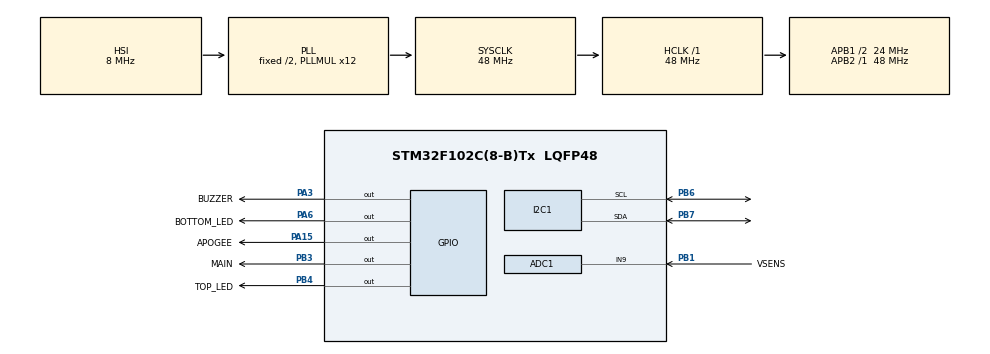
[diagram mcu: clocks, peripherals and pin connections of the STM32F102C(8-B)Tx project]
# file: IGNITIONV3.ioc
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ADC1.Channel-0\#ChannelRegularConversion=ADC_CHANNEL_9
ADC1.NbrOfConversionFlag=1
ADC1.Rank-0\#ChannelRegularConversion=1
ADC1.SamplingTime-0\#ChannelRegularConversion=ADC_SAMPLETIME_1CYCLE_5
ADC1.master=1
Mcu.Family=STM32F1
Mcu.Name=STM32F102C(8-B)Tx
Mcu.Package=LQFP48
NVIC.PriorityGroup=NVIC_PRIORITYGROUP_4
NVIC.TIM2_IRQn=true\:0\:0\:false\:false\:true\:true\:true
NVIC.TIM3_IRQn=true\:0\:0\:false\:false\:true\:true\:true
PA13.Mode=Serial_Wire
PA13.Signal=SYS_JTMS-SWDIO
PA14.Mode=Serial_Wire
PA14.Signal=SYS_JTCK-SWCLK
PA15.GPIO_Label=APOGEE
PA15.Signal=GPIO_Output
PA3.GPIO_Label=BUZZER
PA3.Signal=GPIO_Output
PA6.GPIO_Label=BOTTOM_LED
PA6.Signal=GPIO_Output
PB1.GPIO_Label=VSENS
PB1.Signal=ADCx_IN9
PB3.GPIO_Label=MAIN
PB3.Signal=GPIO_Output
PB4.GPIO_Label=TOP_LED
PB4.Signal=GPIO_Output
PB6.Mode=I2C
PB6.Signal=I2C1_SCL
PB7.Mode=I2C
PB7.Signal=I2C1_SDA
PD0-OSC_IN.Mode=HSE-External-Oscillator
PD0-OSC_IN.Signal=RCC_OSC_IN
PD1-OSC_OUT.Mode=HSE-External-Oscillator
PD1-OSC_OUT.Signal=RCC_OSC_OUT
ProjectManager.HeapSize=0x200
ProjectManager.StackSize=0x400
ProjectManager.TargetToolchain=STM32CubeIDE
RCC.ADCPresc=RCC_ADCPCLK2_DIV4
RCC.AHBFreq_Value=48000000
RCC.APB1CLKDivider=RCC_HCLK_DIV2
RCC.APB1Freq_Value=24000000
RCC.APB1TimFreq_Value=48000000
RCC.APB2Freq_Value=48000000
RCC.HCLKFreq_Value=48000000
RCC.PLLMUL=RCC_PLL_MUL12
RCC.SYSCLKFreq_VALUE=48000000
RCC.SYSCLKSource=RCC_SYSCLKSOURCE_PLLCLK
RCC.USBFreq_Value=48000000
SH.ADCx_IN9.0=ADC1_IN9,IN9
TIM2.Period=4
TIM2.Prescaler=47999
TIM3.Period=108
TIM3.Prescaler=47999
TIM4.Prescaler=47999
VP_TIM2_VS_ClockSourceINT.Mode=Internal
VP_TIM3_VS_ClockSourceINT.Mode=Internal
VP_TIM4_VS_ClockSourceINT.Mode=Internal
board=custom

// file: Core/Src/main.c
/* USER CODE BEGIN Header */
/**
  ******************************************************************************
  * @file           : main.c
  * @brief          : Main program body
  ******************************************************************************
  * @attention
  *
  * <h2><center>&copy; Copyright (c) 2021 STMicroelectronics.
  * All rights reserved.</center></h2>
  *
  * This software component is licensed by ST under BSD 3-Clause license,
  * the "License"; You may not use this file except in compliance with the
  * License. You may obtain a copy of the License at:
  *                        opensource.org/licenses/BSD-3-Clause
  *
  ******************************************************************************
  */
/* USER CODE END Header */
#include "main.h"

/* USER CODE BEGIN Includes */
#include "ADXL345.h"
#include "MS5611.h"
/* USER CODE END Includes */

/* USER CODE BEGIN PTD */
#define ACC_l 1.5  // kalkisi anlamak icin gerekli ivme eşigi (pozitif olmali)***

float ADXL_Z[6] = {0}, MS_V[6] = {0}, MS_A[6] = {0};
float temp, press, MS[2];
uint8_t ADXL = 0, ADXL_S = 0, MS5611 = 0, MS_S = 0, ACC_FAIL = 0, final = 0, k = 0;
uint32_t tim1 = 0, tim2 = 0, dif = 0, alt_l = 0;
/* USER CODE END PTD */

ADC_HandleTypeDef hadc1;

I2C_HandleTypeDef hi2c1;

TIM_HandleTypeDef htim2;
TIM_HandleTypeDef htim3;
TIM_HandleTypeDef htim4;

void SystemClock_Config(void);
static void MX_GPIO_Init(void);
static void MX_I2C1_Init(void);
static void MX_TIM2_Init(void);
static void MX_TIM3_Init(void);
static void MX_TIM4_Init(void);
static void MX_ADC1_Init(void);

int main(void)
{

  /* MCU Configuration--------------------------------------------------------*/

  /* Reset of all peripherals, Initializes the Flash interface and the Systick. */
  HAL_Init();

  /* Configure the system clock */
  SystemClock_Config();

  /* Initialize all configured peripherals */
  MX_GPIO_Init();
  MX_I2C1_Init();
  MX_TIM2_Init();
  MX_TIM3_Init();
  MX_TIM4_Init();
  MX_ADC1_Init();
  /* USER CODE BEGIN 2 */
  Scan_I2C();
  ADXL345_Init();
  MS5611_Init();
  //HAL_TIM_Base_Start(&htim3);
  enum rocket {Rail, Launch, Burnout, Apogee, Descent, Main, Recovery};
  enum rocket EPHEMERISH;

  for (uint8_t i = 0 ; i < 12 ; i++)
    {
  	  HAL_GPIO_TogglePin(GPIOA, GPIO_PIN_6);
  	  HAL_GPIO_TogglePin(GPIOA, GPIO_PIN_3);
  	  HAL_GPIO_TogglePin(GPIOB, GPIO_PIN_4);
  	  HAL_Delay(50);
    }

	if (ACC_FAIL == 0) {
		EPHEMERISH = Rail;
		HAL_TIM_Base_Start_IT(&htim2);
		//EPHEMERISH = Burnout;
	} else if (ACC_FAIL == 1) {
		EPHEMERISH = Launch;
		HAL_TIM_Base_Stop_IT(&htim2);
		HAL_TIM_Base_Start_IT(&htim3);
		HAL_TIM_Base_Start(&htim4);
	}

  /* USER CODE END 2 */

  /* Infinite loop */
	while (1) {

		/* USER CODE BEGIN 3 */
		switch (EPHEMERISH) {
		case Rail:
			if (ADXL == 1) {
				ADXL_Z[ADXL_S] = ADXL345_Zaxiss_filter();
				if (ADXL_S == 5) {
					uint8_t C2 = 0;
					for (uint8_t i = 0; i <= ADXL_S; i++) {
						if (ADXL_Z[i] < (-1 * ACC_l) || ADXL_Z[i] > ACC_l)
							C2++;
					}
					if (C2 >= 3) {
						EPHEMERISH = Launch;
						//EPHEMERISH = Apogee;
						HAL_TIM_Base_Stop_IT(&htim2);
						for (uint8_t i = 0; i < (EPHEMERISH * 2); i++) {
							HAL_GPIO_TogglePin(GPIOA, GPIO_PIN_3);
							HAL_Delay(50);
						}
						HAL_TIM_Base_Start_IT(&htim3);
						HAL_TIM_Base_Start(&htim4);
					}
					ADXL_S = 0;
				}
				ADXL_S++;
				ADXL = 0;
			}
			break;
		case Launch:
			if (MS5611 == 1) {
				if (alt_l == 0) {
					tim1 = __HAL_TIM_GET_COUNTER(&htim4);
					MS[0] = MS5611_ReadMedian_Altitude();
					alt_l = 1;
				} else if (alt_l == 1) {
					tim2 = __HAL_TIM_GET_COUNTER(&htim4);
					MS[1] = MS5611_ReadMedian_Altitude();
					if (tim2 < tim1) {
						tim2 = tim2 + 65535;
						dif = tim2 - tim1;
					} else
						dif = tim2 - tim1;
					MS_V[MS_S] = (MS[1] - MS[0]) / (0.001 * dif);
					if (MS_S == 5) {
						uint8_t M = 0;
						for (uint8_t i = 0; i <= MS_S; i++) {
							if (MS_V[i] > 15)  // TEST BURNOUT VALUE = 15 REAL BURNOUT VALUE = 100
								M++;
						}
						if (M >= 3) {
							//**********************
							EPHEMERISH = Burnout;
							for (uint8_t i = 0; i < (EPHEMERISH * 2); i++) {
								HAL_GPIO_TogglePin(GPIOA, GPIO_PIN_3);
								HAL_Delay(50);
							}
						}
						for (uint8_t k = 0; k <= 5; k++)
							MS_V[k] = 0;
						MS_S = 0;
					}
					MS_S++;
					alt_l = 0;
				}
				MS5611 = 0;
			}
			break;
		case Burnout:
			if (MS5611 == 1) {
				if (alt_l == 0) {
					tim1 = __HAL_TIM_GET_COUNTER(&htim4);
					MS[0] = MS5611_ReadMedian_Altitude();
					alt_l = 1;
				} else if (alt_l == 1) {
					tim2 = __HAL_TIM_GET_COUNTER(&htim4);
					MS[1] = MS5611_ReadMedian_Altitude();
					if (tim2 < tim1) {
						tim2 = tim2 + 65535;
						dif = tim2 - tim1;
					} else
						dif = tim2 - tim1;
					MS_V[MS_S] = (MS[1] - MS[0]) / (0.001 * dif);
					if (MS_S == 5) {
						uint8_t M = 0;
						for (uint8_t i = 0; i <= MS_S; i++) {
							if (MS_V[i] < 0)   // APOGEE velocity limit
								M++;
						}
						if (M >= 3) {
							EPHEMERISH = Apogee;
							HAL_TIM_Base_Stop_IT(&htim3);
							for (uint8_t i = 0; i < (EPHEMERISH * 2); i++) {
								HAL_GPIO_TogglePin(GPIOA, GPIO_PIN_3);
								HAL_Delay(50);
							}
						}
						for (uint8_t k = 0 ; k <= 5 ; k++)
							MS_V[k] = 0;
						MS_S = 0;
					}
					MS_S++;
					alt_l = 0;
				}
				MS5611 = 0;
			}
			break;
		case Apogee:
			//EPHEMERISH = Recovery;
			EPHEMERISH = Descent;
			for (uint8_t i = 0; i < (EPHEMERISH * 2); i++) {
				HAL_GPIO_TogglePin(GPIOA, GPIO_PIN_3);
				HAL_Delay(50);
			}
			HAL_GPIO_TogglePin(GPIOA, GPIO_PIN_3);
			HAL_GPIO_WritePin(GPIOA, GPIO_PIN_15, SET);
			//HAL_GPIO_WritePin(GPIOB, GPIO_PIN_3, SET);  // ***************
			HAL_Delay(600);
			HAL_GPIO_WritePin(GPIOA, GPIO_PIN_15, RESET);
			//HAL_GPIO_WritePin(GPIOB, GPIO_PIN_3, RESET);  // **************
			HAL_GPIO_TogglePin(GPIOA, GPIO_PIN_3);
			HAL_TIM_Base_Start_IT(&htim3);
			break;
		case Descent:
			if (MS5611 == 1) {
				MS_A[MS_S] = MS5611_ReadMedian_Altitude();
				if (MS_S == 5) {
					uint8_t M = 0;
					for (uint8_t i = 0; i <= MS_S; i++) {
						if (MS_A[i] < 500)
							M++;
					}
					if (M >= 3) {
						// MAIN FIRE
						EPHEMERISH = Main;
						HAL_TIM_Base_Stop_IT(&htim3);
						for (uint8_t i = 0; i < (EPHEMERISH * 2); i++) {
							HAL_GPIO_TogglePin(GPIOA, GPIO_PIN_3);
							HAL_Delay(50);
						}
					}
					for (uint8_t k = 0 ; k <= 5 ; k++)
						MS_A[k] = 0;
					MS_S = 0;
				}
				MS_S++;
				MS5611 = 0;
			}
			break;
		case Main:
			EPHEMERISH = Recovery;
			for (uint8_t i = 0; i < (EPHEMERISH * 2); i++) {
				HAL_GPIO_TogglePin(GPIOA, GPIO_PIN_3);
				HAL_Delay(50);
			}
			HAL_GPIO_WritePin(GPIOA, GPIO_PIN_3, SET);
			HAL_GPIO_WritePin(GPIOB, GPIO_PIN_3, SET);
			HAL_Delay(600);
			HAL_GPIO_WritePin(GPIOB, GPIO_PIN_3, RESET);
			HAL_GPIO_WritePin(GPIOA, GPIO_PIN_3, RESET);
			break;
		case Recovery:
			for (uint8_t i = 0; i < (EPHEMERISH * 2); i++) {
				HAL_GPIO_TogglePin(GPIOB, GPIO_PIN_4);
				HAL_Delay(500);
				final++;
			}
			break;
		}
	}
/* USER CODE END 3 */
}

void SystemClock_Config(void)
{
  RCC_OscInitTypeDef RCC_OscInitStruct = {0};
  RCC_ClkInitTypeDef RCC_ClkInitStruct = {0};
  RCC_PeriphCLKInitTypeDef PeriphClkInit = {0};

  /** Initializes the RCC Oscillators according to the specified parameters
  * in the RCC_OscInitTypeDef structure.
  */
  RCC_OscInitStruct.OscillatorType = RCC_OSCILLATORTYPE_HSI;
  RCC_OscInitStruct.HSIState = RCC_HSI_ON;
  RCC_OscInitStruct.HSICalibrationValue = RCC_HSICALIBRATION_DEFAULT;
  RCC_OscInitStruct.PLL.PLLState = RCC_PLL_ON;
  RCC_OscInitStruct.PLL.PLLSource = RCC_PLLSOURCE_HSI_DIV2;
  RCC_OscInitStruct.PLL.PLLMUL = RCC_PLL_MUL12;
  if (HAL_RCC_OscConfig(&RCC_OscInitStruct) != HAL_OK)
  {
    Error_Handler();
  }
  /** Initializes the CPU, AHB and APB buses clocks
  */
  RCC_ClkInitStruct.ClockType = RCC_CLOCKTYPE_HCLK|RCC_CLOCKTYPE_SYSCLK
                              |RCC_CLOCKTYPE_PCLK1|RCC_CLOCKTYPE_PCLK2;
  RCC_ClkInitStruct.SYSCLKSource = RCC_SYSCLKSOURCE_PLLCLK;
  RCC_ClkInitStruct.AHBCLKDivider = RCC_SYSCLK_DIV1;
  RCC_ClkInitStruct.APB1CLKDivider = RCC_HCLK_DIV2;
  RCC_ClkInitStruct.APB2CLKDivider = RCC_HCLK_DIV1;

  if (HAL_RCC_ClockConfig(&RCC_ClkInitStruct, FLASH_LATENCY_1) != HAL_OK)
  {
    Error_Handler();
  }
  PeriphClkInit.PeriphClockSelection = RCC_PERIPHCLK_ADC;
  PeriphClkInit.AdcClockSelection = RCC_ADCPCLK2_DIV4;
  if (HAL_RCCEx_PeriphCLKConfig(&PeriphClkInit) != HAL_OK)
  {
    Error_Handler();
  }
}

static void MX_ADC1_Init(void)
{

  ADC_ChannelConfTypeDef sConfig = {0};

  /** Common config
  */
  hadc1.Instance = ADC1;
  hadc1.Init.ScanConvMode = ADC_SCAN_DISABLE;
  hadc1.Init.ContinuousConvMode = DISABLE;
  hadc1.Init.DiscontinuousConvMode = DISABLE;
  hadc1.Init.ExternalTrigConv = ADC_SOFTWARE_START;
  hadc1.Init.DataAlign = ADC_DATAALIGN_RIGHT;
  hadc1.Init.NbrOfConversion = 1;
  if (HAL_ADC_Init(&hadc1) != HAL_OK)
  {
    Error_Handler();
  }
  /** Configure Regular Channel
  */
  sConfig.Channel = ADC_CHANNEL_9;
  sConfig.Rank = ADC_REGULAR_RANK_1;
  sConfig.SamplingTime = ADC_SAMPLETIME_1CYCLE_5;
  if (HAL_ADC_ConfigChannel(&hadc1, &sConfig) != HAL_OK)
  {
    Error_Handler();
  }

}

static void MX_I2C1_Init(void)
{

  hi2c1.Instance = I2C1;
  hi2c1.Init.ClockSpeed = 100000;
  hi2c1.Init.DutyCycle = I2C_DUTYCYCLE_2;
  hi2c1.Init.OwnAddress1 = 0;
  hi2c1.Init.AddressingMode = I2C_ADDRESSINGMODE_7BIT;
  hi2c1.Init.DualAddressMode = I2C_DUALADDRESS_DISABLE;
  hi2c1.Init.OwnAddress2 = 0;
  hi2c1.Init.GeneralCallMode = I2C_GENERALCALL_DISABLE;
  hi2c1.Init.NoStretchMode = I2C_NOSTRETCH_DISABLE;
  if (HAL_I2C_Init(&hi2c1) != HAL_OK)
  {
    Error_Handler();
  }

}

static void MX_TIM2_Init(void)
{

  TIM_ClockConfigTypeDef sClockSourceConfig = {0};
  TIM_MasterConfigTypeDef sMasterConfig = {0};

  htim2.Instance = TIM2;
  htim2.Init.Prescaler = 47999;
  htim2.Init.CounterMode = TIM_COUNTERMODE_UP;
  htim2.Init.Period = 4;
  htim2.Init.ClockDivision = TIM_CLOCKDIVISION_DIV1;
  htim2.Init.AutoReloadPreload = TIM_AUTORELOAD_PRELOAD_DISABLE;
  if (HAL_TIM_Base_Init(&htim2) != HAL_OK)
  {
    Error_Handler();
  }
  sClockSourceConfig.ClockSource = TIM_CLOCKSOURCE_INTERNAL;
  if (HAL_TIM_ConfigClockSource(&htim2, &sClockSourceConfig) != HAL_OK)
  {
    Error_Handler();
  }
  sMasterConfig.MasterOutputTrigger = TIM_TRGO_RESET;
  sMasterConfig.MasterSlaveMode = TIM_MASTERSLAVEMODE_DISABLE;
  if (HAL_TIMEx_MasterConfigSynchronization(&htim2, &sMasterConfig) != HAL_OK)
  {
    Error_Handler();
  }

}

static void MX_TIM3_Init(void)
{

  TIM_ClockConfigTypeDef sClockSourceConfig = {0};
  TIM_MasterConfigTypeDef sMasterConfig = {0};

  htim3.Instance = TIM3;
  htim3.Init.Prescaler = 47999;
  htim3.Init.CounterMode = TIM_COUNTERMODE_UP;
  htim3.Init.Period = 108;
  htim3.Init.ClockDivision = TIM_CLOCKDIVISION_DIV1;
  htim3.Init.AutoReloadPreload = TIM_AUTORELOAD_PRELOAD_DISABLE;
  if (HAL_TIM_Base_Init(&htim3) != HAL_OK)
  {
    Error_Handler();
  }
  sClockSourceConfig.ClockSource = TIM_CLOCKSOURCE_INTERNAL;
  if (HAL_TIM_ConfigClockSource(&htim3, &sClockSourceConfig) != HAL_OK)
  {
    Error_Handler();
  }
  sMasterConfig.MasterOutputTrigger = TIM_TRGO_RESET;
  sMasterConfig.MasterSlaveMode = TIM_MASTERSLAVEMODE_DISABLE;
  if (HAL_TIMEx_MasterConfigSynchronization(&htim3, &sMasterConfig) != HAL_OK)
  {
    Error_Handler();
  }

}

static void MX_TIM4_Init(void)
{

  TIM_ClockConfigTypeDef sClockSourceConfig = {0};
  TIM_MasterConfigTypeDef sMasterConfig = {0};

  htim4.Instance = TIM4;
  htim4.Init.Prescaler = 47999;
  htim4.Init.CounterMode = TIM_COUNTERMODE_UP;
  htim4.Init.Period = 65535;
  htim4.Init.ClockDivision = TIM_CLOCKDIVISION_DIV1;
  htim4.Init.AutoReloadPreload = TIM_AUTORELOAD_PRELOAD_DISABLE;
  if (HAL_TIM_Base_Init(&htim4) != HAL_OK)
  {
    Error_Handler();
  }
  sClockSourceConfig.ClockSource = TIM_CLOCKSOURCE_INTERNAL;
  if (HAL_TIM_ConfigClockSource(&htim4, &sClockSourceConfig) != HAL_OK)
  {
    Error_Handler();
  }
  sMasterConfig.MasterOutputTrigger = TIM_TRGO_RESET;
  sMasterConfig.MasterSlaveMode = TIM_MASTERSLAVEMODE_DISABLE;
  if (HAL_TIMEx_MasterConfigSynchronization(&htim4, &sMasterConfig) != HAL_OK)
  {
    Error_Handler();
  }

}

static void MX_GPIO_Init(void)
{
  GPIO_InitTypeDef GPIO_InitStruct = {0};

  /* GPIO Ports Clock Enable */
  __HAL_RCC_GPIOD_CLK_ENABLE();
  __HAL_RCC_GPIOA_CLK_ENABLE();
  __HAL_RCC_GPIOB_CLK_ENABLE();

  /*Configure GPIO pin Output Level */
  HAL_GPIO_WritePin(GPIOA, BUZZER_Pin|BOTTOM_LED_Pin|APOGEE_Pin, GPIO_PIN_RESET);

  /*Configure GPIO pin Output Level */
  HAL_GPIO_WritePin(GPIOB, MAIN_Pin|TOP_LED_Pin, GPIO_PIN_RESET);

  /*Configure GPIO pins : BUZZER_Pin BOTTOM_LED_Pin APOGEE_Pin */
  GPIO_InitStruct.Pin = BUZZER_Pin|BOTTOM_LED_Pin|APOGEE_Pin;
  GPIO_InitStruct.Mode = GPIO_MODE_OUTPUT_PP;
  GPIO_InitStruct.Pull = GPIO_NOPULL;
  GPIO_InitStruct.Speed = GPIO_SPEED_FREQ_LOW;
  HAL_GPIO_Init(GPIOA, &GPIO_InitStruct);

  /*Configure GPIO pins : MAIN_Pin TOP_LED_Pin */
  GPIO_InitStruct.Pin = MAIN_Pin|TOP_LED_Pin;
  GPIO_InitStruct.Mode = GPIO_MODE_OUTPUT_PP;
  GPIO_InitStruct.Pull = GPIO_NOPULL;
  GPIO_InitStruct.Speed = GPIO_SPEED_FREQ_LOW;
  HAL_GPIO_Init(GPIOB, &GPIO_InitStruct);

}

/* USER CODE BEGIN 4 */
void Scan_I2C(void){
	for(uint8_t i = 0; i < 255 ; i++){
		if(HAL_I2C_IsDeviceReady(&hi2c1, i, 1, 10) == HAL_OK){
			k++;
		}
	}
}
/* USER CODE END 4 */

void Error_Handler(void)
{
}

/************************ (C) COPYRIGHT STMicroelectronics *****END OF FILE****/
